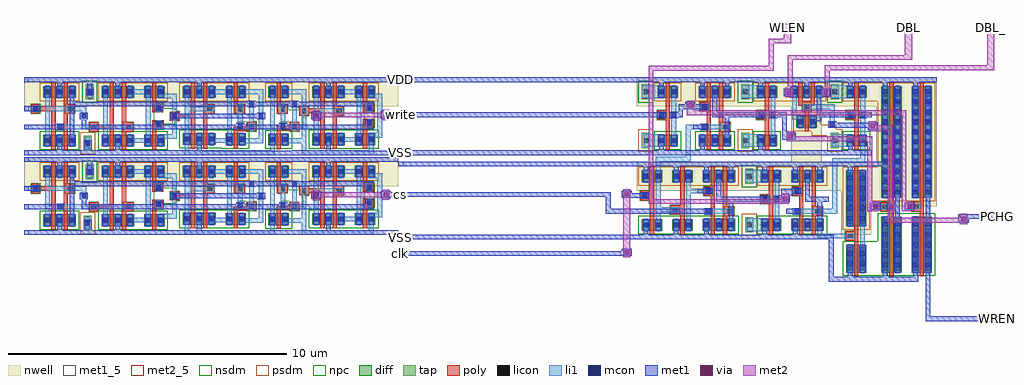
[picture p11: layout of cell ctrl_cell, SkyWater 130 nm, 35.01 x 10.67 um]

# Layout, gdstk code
import gdstk
lib = gdstk.Library(unit=1e-6, precision=5e-09)
def R(c, l, rs):  # rectangles x0, y0, x1, y1
    for r in rs: c.add(gdstk.rectangle(r[:2], r[2:], *l))
def A(c, l, x, y, w, h, nx, ny, dx, dy):  # array of equal rectangles
    R(c, l, [(x+i*dx, y+j*dy, x+i*dx+w, y+j*dy+h) for i in range(nx) for j in range(ny)])
nwell = (64, 20)
diff = (65, 20)
tap = (65, 44)
poly = (66, 20)
licon = (66, 44)
li1 = (67, 20)
mcon = (67, 44)
met1_5 = (68, 5)
met1 = (68, 20)
via = (68, 44)
met2_5 = (69, 5)
met2 = (69, 20)
nsdm = (93, 44)
psdm = (94, 20)
npc = (95, 20)

ms_ff_f = lib.new_cell('ms_ff_f')
R(ms_ff_f, nwell, [(0,1.75,13.43,2.79)])
R(ms_ff_f, diff, [(0.695,0.315,1.865,0.735), (2.78,0.315,3.95,0.735), (4.31,0.315,5.04,0.735), (8.77,0.35,9.5,0.77), (7.23,0.36,7.96,0.78), (10.34,0.36,11.51,0.78), (11.87,0.36,12.6,0.78), (5.7,0.365,6.87,0.785), (0.695,2.06,1.865,2.48), (2.78,2.06,3.95,2.48), (4.31,2.06,5.04,2.48), (5.7,2.06,6.87,2.48), (7.23,2.06,7.96,2.48), (8.77,2.06,9.5,2.48), (10.34,2.06,11.51,2.48), (11.87,2.06,12.6,2.48)])
R(ms_ff_f, tap, [(2.135,0.15,2.425,0.69), (2.21,2,2.5,2.54)])
R(ms_ff_f, poly, [(0.985,0.185,1.135,1.58), (1.425,0.185,1.575,1.5), (3.07,0.185,3.22,0.925), (3.51,0.185,3.66,0.845), (4.6,0.185,4.75,0.925), (9.06,0.22,9.21,0.9), (7.52,0.23,7.67,0.86), (10.63,0.23,10.78,1.5), (11.07,0.23,11.22,1.42), (12.16,0.23,12.31,0.98), (5.99,0.235,6.14,1.315), (6.43,0.235,6.58,1.49), (2.335,0.845,2.665,0.925), (3.51,0.845,3.91,1.175), (7.52,0.86,8.33,1.01), (9.54,0.86,9.87,0.9), (9.06,0.9,9.87,1.05), (2.335,0.925,3.22,1.095), (4.6,0.925,5.005,1.26), (12.16,0.98,12.56,1.31), (8,1.01,8.33,1.19), (9.54,1.05,9.87,1.19), (2.335,1.095,2.665,1.175), (3.07,1.095,3.22,2.61), (3.51,1.175,3.66,2.61), (5.23,1.235,5.56,1.315), (5.23,1.315,6.14,1.485), (9.88,1.42,10.21,1.5), (11.07,1.42,11.47,1.755), (5.23,1.485,5.56,1.565), (5.99,1.485,6.14,2.61), (6.43,1.49,6.83,1.82), (7.52,1.49,7.92,1.82), (9.06,1.49,9.46,1.82), (0.255,1.5,0.555,1.58), (1.425,1.5,1.825,1.83), (9.88,1.5,10.78,1.675), (4.6,1.54,5,1.87), (12.16,1.54,12.56,1.87), (0.255,1.58,1.135,1.75), (9.88,1.675,10.21,1.755), (10.63,1.675,10.78,2.61), (0.255,1.75,0.555,1.83), (0.985,1.75,1.135,2.61), (11.07,1.755,11.22,2.61), (6.43,1.82,6.58,2.61), (7.52,1.82,7.67,2.61), (9.06,1.82,9.21,2.61), (1.425,1.83,1.575,2.61), (4.6,1.87,4.75,2.61), (12.16,1.87,12.31,2.61)])
A(ms_ff_f, licon, 0.755, 0.44, 0.17, 0.17, 3, 2, 0.44, 1.745)
A(ms_ff_f, licon, 2.84, 0.44, 0.17, 0.17, 3, 2, 0.44, 1.745)
A(ms_ff_f, licon, 10.4, 0.485, 0.17, 0.17, 3, 2, 0.44, 1.7)
A(ms_ff_f, licon, 5.76, 0.49, 0.17, 0.17, 3, 2, 0.44, 1.695)
R(ms_ff_f, licon, [(2.195,0.335,2.365,0.505), (4.37,0.44,4.54,0.61), (4.81,0.44,4.98,0.61), (8.83,0.475,9,0.645), (9.27,0.475,9.44,0.645), (7.29,0.485,7.46,0.655), (7.73,0.485,7.9,0.655), (11.93,0.485,12.1,0.655), (12.37,0.485,12.54,0.655), (2.415,0.925,2.585,1.095), (3.66,0.925,3.83,1.095), (8.08,0.94,8.25,1.11), (9.62,0.94,9.79,1.11), (4.75,1.01,4.92,1.18), (12.31,1.06,12.48,1.23), (5.31,1.315,5.48,1.485), (9.96,1.5,10.13,1.67), (11.22,1.5,11.39,1.67), (6.58,1.57,6.75,1.74), (7.67,1.57,7.84,1.74), (9.21,1.57,9.38,1.74), (0.335,1.58,0.505,1.75), (1.575,1.58,1.745,1.75), (4.75,1.62,4.92,1.79), (12.31,1.62,12.48,1.79), (2.27,2.185,2.44,2.355), (4.37,2.185,4.54,2.355), (4.81,2.185,4.98,2.355), (7.29,2.185,7.46,2.355), (7.73,2.185,7.9,2.355), (8.83,2.185,9,2.355), (9.27,2.185,9.44,2.355), (11.93,2.185,12.1,2.355), (12.37,2.185,12.54,2.355)])
R(ms_ff_f, li1, [(5.76,0,9,0.17), (9.96,0,12.54,0.17), (5.76,0.17,5.93,1.57), (8.83,0.17,9,2.5), (9.96,0.17,10.13,0.43), (12.37,0.17,12.54,0.625), (2.195,0.19,2.365,0.65), (0.755,0.295,0.925,1.58), (1.195,0.295,1.365,0.755), (1.635,0.295,1.805,0.755), (2.84,0.295,3.01,0.925), (3.28,0.295,3.45,0.755), (3.72,0.295,3.89,0.445), (4.37,0.295,4.54,0.445), (4.81,0.295,4.98,0.585), (9.27,0.33,9.44,0.43), (7.29,0.34,7.46,0.445), (7.73,0.34,7.9,0.43), (10.4,0.34,10.57,1.5), (10.84,0.34,11.01,0.8), (11.28,0.34,11.45,0.48), (11.93,0.34,12.1,0.48), (6.2,0.345,6.37,0.805), (6.64,0.345,6.81,0.445), (7.73,0.43,8.59,0.6), (9.27,0.43,10.13,0.6), (3.72,0.445,4.54,0.615), (6.64,0.445,7.46,0.615), (11.28,0.48,12.1,0.65), (4.81,0.585,5.48,0.755), (7.73,0.6,7.9,0.8), (8.42,0.6,8.59,2.19), (9.27,0.6,9.44,0.79), (9.96,0.6,10.13,2.19), (3.72,0.615,3.89,0.755), (4.37,0.615,4.54,2.19), (6.64,0.615,6.81,0.805), (7.29,0.615,7.46,2.19), (12.37,0.625,12.845,0.8), (11.28,0.65,11.45,0.8), (11.93,0.65,12.1,2.185), (5.31,0.755,5.48,2.04), (12.675,0.8,12.845,2.04), (8.08,0.86,8.25,1.92), (9.62,0.86,9.79,1.92), (1.195,0.925,2.665,1.095), (2.84,0.925,3.91,1.095), (4.75,0.925,4.92,1.26), (9.21,0.965,9.38,1.82), (7.67,0.97,7.84,1.82), (12.31,0.98,12.48,1.31), (2.84,1.095,3.01,2.5), (2.065,1.315,2.235,1.58), (10.4,1.5,11.47,1.675), (4.75,1.54,4.92,1.87), (12.31,1.54,12.48,1.87), (5.76,1.57,6.83,1.74), (0.255,1.58,0.585,1.75), (0.755,1.58,2.235,1.75), (10.4,1.675,10.57,2.5), (5.76,1.74,5.93,2.5), (0.755,1.75,0.925,2.5), (1.195,2.04,1.365,2.5), (1.635,2.04,1.805,2.5), (2.27,2.04,2.44,2.5), (3.28,2.04,3.45,2.5), (3.72,2.04,3.89,2.19), (4.81,2.04,5.48,2.21), (6.2,2.04,6.37,2.5), (6.64,2.04,6.81,2.19), (7.73,2.04,7.9,2.19), (9.27,2.04,9.44,2.19), (10.84,2.04,11.01,2.5), (11.28,2.04,11.45,2.185), (12.37,2.04,12.845,2.21), (11.28,2.185,12.1,2.355), (3.72,2.19,4.54,2.36), (6.64,2.19,7.46,2.36), (7.73,2.19,8.59,2.36), (9.27,2.19,10.13,2.36), (4.81,2.21,4.98,2.5), (12.37,2.21,12.54,2.5), (11.28,2.355,11.45,2.5), (11.93,2.355,12.1,2.5), (3.72,2.36,3.89,2.5), (4.37,2.36,4.54,2.5), (6.64,2.36,6.81,2.5), (7.29,2.36,7.46,2.5), (7.73,2.36,7.9,2.5), (9.27,2.36,9.44,2.5)])
A(ms_ff_f, mcon, 0.755, 0.44, 0.17, 0.17, 3, 2, 0.44, 1.745)
A(ms_ff_f, mcon, 2.84, 0.44, 0.17, 0.17, 3, 2, 0.44, 1.745)
A(ms_ff_f, mcon, 10.4, 0.485, 0.17, 0.17, 3, 2, 0.44, 1.7)
A(ms_ff_f, mcon, 5.76, 0.49, 0.17, 0.17, 3, 2, 0.44, 1.695)
R(ms_ff_f, mcon, [(2.195,0.335,2.365,0.505), (4.37,0.44,4.54,0.61), (4.81,0.44,4.98,0.61), (8.83,0.475,9,0.645), (9.27,0.475,9.44,0.645), (7.29,0.485,7.46,0.655), (7.73,0.485,7.9,0.655), (11.93,0.485,12.1,0.655), (12.37,0.485,12.54,0.655), (1.195,0.925,1.365,1.095), (9.21,0.965,9.38,1.135), (7.67,0.97,7.84,1.14), (4.75,1.01,4.92,1.18), (12.31,1.06,12.48,1.23), (2.065,1.315,2.235,1.485), (5.31,1.315,5.48,1.485), (8.42,1.315,8.59,1.485), (10.4,1.335,10.57,1.505), (0.335,1.58,0.505,1.75), (4.75,1.62,4.92,1.79), (12.31,1.62,12.48,1.79), (8.08,1.75,8.25,1.92), (9.62,1.75,9.79,1.92), (2.27,2.185,2.44,2.355), (4.37,2.185,4.54,2.355), (4.81,2.185,4.98,2.355), (7.29,2.185,7.46,2.355), (7.73,2.185,7.9,2.355), (8.83,2.185,9,2.355), (9.27,2.185,9.44,2.355), (11.93,2.185,12.1,2.355), (12.37,2.185,12.54,2.355)])
R(ms_ff_f, met1_5, [(0,0,0.17,0.17), (0,0.925,0.17,1.095), (13.26,1.36,13.43,1.53), (0,1.58,0.17,1.75), (0,2.62,0.17,2.79)])
A(ms_ff_f, met1, 0.725, 0.315, 0.23, 0.42, 3, 2, 0.44, 1.745)
A(ms_ff_f, met1, 2.81, 0.315, 0.23, 0.42, 3, 2, 0.44, 1.745)
A(ms_ff_f, met1, 10.37, 0.36, 0.23, 0.42, 3, 2, 0.44, 1.7)
A(ms_ff_f, met1, 5.73, 0.365, 0.23, 0.42, 3, 2, 0.44, 1.695)
R(ms_ff_f, met1, [(0,0,13.43,0.165), (0,0.165,6.37,0.17), (9.605,0.165,11.82,0.17), (1.195,0.17,1.365,0.315), (2.135,0.17,2.425,0.535), (3.28,0.17,3.45,0.315), (6.2,0.17,6.37,0.365), (10.84,0.17,11.01,0.36), (4.34,0.315,4.57,0.735), (4.78,0.315,5.01,0.735), (8.8,0.35,9.03,0.77), (9.24,0.35,9.47,0.77), (7.26,0.36,7.49,0.78), (7.7,0.36,7.93,0.78), (11.9,0.36,12.13,0.78), (12.34,0.36,12.57,0.78), (1.635,0.735,1.805,1.75), (1.135,0.895,1.425,0.925), (0,0.925,1.425,1.095), (2.065,0.925,12.54,1.095), (1.135,1.095,1.425,1.125), (2.065,1.095,2.235,1.285), (4.69,1.095,4.98,1.21), (7.61,1.095,7.9,1.17), (9.15,1.095,9.44,1.165), (12.245,1.095,12.54,1.27), (2.005,1.285,2.295,1.515), (5.25,1.285,5.54,1.315), (8.36,1.285,8.65,1.315), (10.305,1.29,10.665,1.55), (12.795,1.31,13.155,1.36), (5.25,1.315,8.65,1.485), (12.795,1.36,13.43,1.53), (5.25,1.485,5.54,1.515), (8.36,1.485,8.65,1.515), (12.795,1.53,13.155,1.57), (0.275,1.55,0.565,1.58), (0,1.58,0.565,1.75), (4.69,1.59,4.98,1.75), (12.25,1.59,12.54,1.75), (8.02,1.72,8.31,1.75), (9.56,1.72,9.85,1.75), (0.275,1.75,0.565,1.78), (1.635,1.75,12.54,1.92), (1.635,1.92,1.805,2.06), (8.02,1.92,8.31,1.95), (9.56,1.92,9.85,1.95), (4.34,2.06,4.57,2.48), (4.78,2.06,5.01,2.48), (7.26,2.06,7.49,2.48), (7.7,2.06,7.93,2.48), (8.8,2.06,9.03,2.48), (9.24,2.06,9.47,2.48), (11.9,2.06,12.13,2.48), (12.34,2.06,12.57,2.48), (2.21,2.155,2.5,2.385), (2.27,2.385,2.44,2.62), (1.195,2.48,1.365,2.62), (3.28,2.48,3.45,2.62), (6.2,2.48,6.37,2.62), (10.84,2.48,11.01,2.62), (0,2.62,13.43,2.79)])
R(ms_ff_f, via, [(10.41,1.345,10.56,1.495), (12.9,1.365,13.05,1.515)])
R(ms_ff_f, met2, [(10.355,1.24,10.615,1.355), (12.845,1.26,13.105,1.355), (10.355,1.355,13.105,1.525), (10.355,1.525,10.615,1.6), (12.845,1.525,13.105,1.62)])
R(ms_ff_f, nsdm, [(0.57,0.19,1.99,0.86), (2.655,0.19,5.165,0.86), (8.645,0.225,9.625,0.895), (7.105,0.235,8.085,0.24), (10.215,0.235,12.725,0.905), (5.575,0.24,8.085,0.905), (5.575,0.905,6.995,0.91), (2.085,1.875,2.625,2.665)])
R(ms_ff_f, psdm, [(2.01,0.025,2.55,0.815), (0.57,1.935,1.99,2.605), (2.655,1.935,5.165,2.605), (5.575,1.935,8.085,2.605), (8.645,1.935,9.625,2.605), (10.215,1.935,12.725,2.605)])
R(ms_ff_f, npc, [(2.315,0.825,2.685,1.195), (3.56,0.825,3.93,1.195), (7.98,0.84,8.35,1.205), (9.52,0.84,9.89,0.985), (4.65,0.91,5.02,1.11), (12.21,0.96,12.58,1.89), (9.52,0.985,10.01,1.205), (4.65,1.11,5.425,1.215), (7.67,1.205,8.35,1.21), (9.21,1.205,10.01,1.4), (7.67,1.21,8.25,1.47), (4.65,1.215,5.58,1.585), (9.21,1.4,10.23,1.47), (11.12,1.4,11.49,1.77), (6.48,1.47,6.85,1.84), (7.57,1.47,8.25,1.475), (9.11,1.47,10.23,1.625), (7.57,1.475,7.94,1.84), (0.235,1.48,0.605,1.85), (1.475,1.48,1.845,1.85), (4.65,1.585,5.425,1.69), (9.11,1.625,9.48,1.84), (9.86,1.625,10.23,1.77), (4.65,1.69,5.02,1.89)])
ms_ff_f.add(gdstk.Label('clk', (0.085,1.665), layer=68, texttype=5))
ms_ff_f.add(gdstk.Label('d', (0.085,1.01), layer=68, texttype=5))
ms_ff_f.add(gdstk.Label('VDD', (0.085,2.705), layer=68, texttype=5))
ms_ff_f.add(gdstk.Label('VSS', (0.085,0.085), layer=68, texttype=5))
ms_ff_f.add(gdstk.Label('q', (13.345,1.445), layer=68, texttype=5))

ctrl_cell = lib.new_cell('ctrl_cell')
R(ctrl_cell, nwell, [(15.88,3.1,16.97,4.125), (15.88,4.125,19.32,4.675), (15.44,4.675,19.32,4.68), (8.555,4.68,19.32,5.72), (14.1,5.72,15.19,7.705), (17.14,5.72,19.32,7.7), (16.975,7.7,19.32,7.705), (8.555,7.705,19.32,8.745)])
R(ctrl_cell, diff, [(16.06,1.745,16.79,2.745), (17.32,1.745,18.05,3.745), (18.41,1.745,19.14,3.745), (8.735,3.24,9.465,3.66), (9.825,3.24,10.555,3.66), (10.91,3.245,12.08,3.665), (13,3.245,13.73,3.665), (14.09,3.245,15.26,3.665), (16.06,3.41,16.79,5.41), (17.32,4.435,18.05,8.435), (18.41,4.435,19.14,8.435), (8.735,4.99,9.465,5.41), (9.825,4.99,10.555,5.41), (10.91,4.99,12.08,5.41), (13,4.99,13.73,5.41), (14.09,4.99,15.26,5.41), (9.295,6.27,10.025,6.69), (10.765,6.27,11.935,6.69), (12.855,6.27,13.585,6.69), (16.07,6.27,16.8,6.69), (14.28,6.945,15.01,7.365), (9.295,8.015,10.025,8.435), (10.765,8.015,11.935,8.435), (12.855,8.015,13.585,8.435), (14.06,8.015,15.23,8.435), (16.07,8.015,16.8,8.435)])
R(ctrl_cell, tap, [(12.44,3.185,12.73,3.725), (12.44,4.93,12.73,5.47), (8.735,6.21,9.025,6.75), (12.295,6.21,12.585,6.75), (15.51,6.21,15.8,6.75), (8.735,7.955,9.025,8.495), (12.295,7.955,12.585,8.495), (15.51,7.955,15.8,8.495)])
R(ctrl_cell, poly, [(16.35,1.615,16.5,2.89), (17.61,1.615,17.76,3.94), (18.7,1.615,18.85,3.945), (16.04,2.89,16.5,3.22), (9.025,3.11,9.175,4.34), (10.115,3.11,10.265,3.83), (11.2,3.115,11.35,4.5), (11.64,3.115,11.79,3.775), (13.29,3.115,13.44,4.21), (14.38,3.115,14.53,4.5), (14.82,3.115,14.97,3.775), (16.35,3.22,16.5,5.54), (11.64,3.775,12.04,4.105), (14.82,3.775,15.22,4.105), (9.755,3.83,10.265,4.16), (17.3,3.94,17.76,4.27), (18.405,3.945,18.85,4.275), (11.64,4.105,11.79,5.54), (14.82,4.105,14.97,5.54), (10.115,4.16,10.265,5.54), (12.985,4.21,13.44,4.54), (17.61,4.27,17.76,8.565), (18.7,4.275,18.85,8.565), (8.67,4.34,9.175,4.675), (10.95,4.5,11.35,4.83), (14.13,4.5,14.53,4.83), (13.29,4.54,13.44,5.54), (9.025,4.675,9.175,5.54), (11.2,4.83,11.35,5.54), (14.38,4.83,14.53,5.54), (9.585,6.14,9.735,7.235), (11.055,6.14,11.205,7.525), (11.495,6.14,11.645,6.8), (13.145,6.14,13.295,7.235), (16.36,6.14,16.51,7.235), (11.495,6.8,11.895,7.13), (14.57,6.815,14.72,7.495), (11.495,7.13,11.645,8.565), (9.28,7.235,9.735,7.565), (12.84,7.235,13.295,7.565), (16.055,7.235,16.51,7.565), (14.565,7.495,14.72,7.525), (10.805,7.525,11.205,7.855), (14.48,7.525,14.805,7.735), (9.585,7.565,9.735,8.565), (13.145,7.565,13.295,8.565), (16.36,7.565,16.51,8.565), (14.35,7.735,14.94,7.885), (11.055,7.855,11.205,8.565), (14.35,7.885,14.5,8.565), (14.79,7.885,14.94,8.565)])
A(ctrl_cell, licon, 17.38, 1.81, 0.17, 0.17, 1, 6, 0, 0.34)
A(ctrl_cell, licon, 17.82, 1.81, 0.17, 0.17, 1, 6, 0, 0.34)
A(ctrl_cell, licon, 18.47, 1.81, 0.17, 0.17, 1, 6, 0, 0.34)
A(ctrl_cell, licon, 18.91, 1.81, 0.17, 0.17, 1, 6, 0, 0.34)
A(ctrl_cell, licon, 16.12, 1.82, 0.17, 0.17, 1, 3, 0, 0.34)
A(ctrl_cell, licon, 16.56, 1.82, 0.17, 0.17, 1, 3, 0, 0.34)
A(ctrl_cell, licon, 10.97, 3.37, 0.17, 0.17, 3, 2, 0.44, 1.745)
A(ctrl_cell, licon, 14.15, 3.37, 0.17, 0.17, 3, 2, 0.44, 1.745)
A(ctrl_cell, licon, 16.12, 3.475, 0.17, 0.17, 1, 6, 0, 0.34)
A(ctrl_cell, licon, 16.56, 3.475, 0.17, 0.17, 1, 6, 0, 0.34)
A(ctrl_cell, licon, 17.38, 4.65, 0.17, 0.17, 1, 11, 0, 0.34)
A(ctrl_cell, licon, 17.82, 4.65, 0.17, 0.17, 1, 11, 0, 0.34)
A(ctrl_cell, licon, 18.47, 4.65, 0.17, 0.17, 1, 11, 0, 0.34)
A(ctrl_cell, licon, 18.91, 4.65, 0.17, 0.17, 1, 11, 0, 0.34)
A(ctrl_cell, licon, 10.825, 6.395, 0.17, 0.17, 3, 2, 0.44, 1.745)
A(ctrl_cell, licon, 14.12, 8.14, 0.17, 0.17, 3, 1, 0.44, 0)
R(ctrl_cell, licon, [(16.12,2.97,16.29,3.14), (8.795,3.365,8.965,3.535), (9.235,3.365,9.405,3.535), (9.885,3.365,10.055,3.535), (10.325,3.365,10.495,3.535), (12.5,3.37,12.67,3.54), (13.06,3.37,13.23,3.54), (13.5,3.37,13.67,3.54), (11.79,3.855,11.96,4.025), (14.97,3.855,15.14,4.025), (9.835,3.91,10.005,4.08), (17.38,4.02,17.55,4.19), (18.49,4.025,18.66,4.195), (13.065,4.29,13.235,4.46), (8.755,4.42,8.925,4.59), (11.03,4.58,11.2,4.75), (14.21,4.58,14.38,4.75), (8.795,5.115,8.965,5.285), (9.235,5.115,9.405,5.285), (9.885,5.115,10.055,5.285), (10.325,5.115,10.495,5.285), (12.5,5.115,12.67,5.285), (13.06,5.115,13.23,5.285), (13.5,5.115,13.67,5.285), (8.795,6.395,8.965,6.565), (9.355,6.395,9.525,6.565), (9.795,6.395,9.965,6.565), (12.355,6.395,12.525,6.565), (12.915,6.395,13.085,6.565), (13.355,6.395,13.525,6.565), (15.57,6.395,15.74,6.565), (16.13,6.395,16.3,6.565), (16.57,6.395,16.74,6.565), (11.645,6.88,11.815,7.05), (14.34,7.07,14.51,7.24), (14.78,7.07,14.95,7.24), (9.36,7.315,9.53,7.485), (12.92,7.315,13.09,7.485), (16.135,7.315,16.305,7.485), (10.885,7.605,11.055,7.775), (14.56,7.605,14.73,7.775), (8.795,8.14,8.965,8.31), (9.355,8.14,9.525,8.31), (9.795,8.14,9.965,8.31), (12.355,8.14,12.525,8.31), (12.915,8.14,13.085,8.31), (13.355,8.14,13.525,8.31), (15.57,8.14,15.74,8.31), (16.13,8.14,16.3,8.31), (16.57,8.14,16.74,8.31)])
A(ctrl_cell, li1, 10.97, 3.225, 0.17, 0.46, 3, 2, 0.44, 1.745)
A(ctrl_cell, li1, 14.15, 4.97, 0.17, 0.46, 3, 1, 0.44, 0)
A(ctrl_cell, li1, 10.825, 6.25, 0.17, 0.46, 3, 2, 0.44, 1.745)
R(ctrl_cell, li1, [(16.12,1.725,16.29,2.765), (16.56,1.725,16.73,5.43), (17.38,1.725,17.55,3.765), (17.82,1.725,17.99,8.455), (18.47,1.725,18.64,3.765), (18.91,1.725,19.08,8.455), (15.03,2.97,16.37,3.14), (15.03,3.14,15.2,3.685), (8.795,3.22,8.965,3.68), (9.235,3.22,9.405,3.91), (9.885,3.22,10.055,3.68), (10.325,3.22,10.495,4.58), (12.5,3.225,13.23,3.685), (13.5,3.225,13.67,5.43), (14.15,3.225,14.32,3.685), (14.59,3.225,14.76,3.685), (16.12,3.39,16.29,5.43), (10.97,3.855,12.04,4.025), (14.15,3.855,15.74,4.025), (9.235,3.91,10.085,4.08), (17.025,4.02,17.63,4.19), (15.57,4.025,15.74,5.68), (18.265,4.025,18.74,4.195), (9.235,4.08,9.405,5.72), (12.985,4.29,13.315,4.46), (17.38,4.415,17.55,8.455), (18.47,4.415,18.64,8.455), (8.67,4.42,9.005,4.59), (10.325,4.58,11.28,4.75), (14.13,4.58,14.46,4.75), (10.325,4.75,10.495,5.43), (8.795,4.97,8.965,5.43), (9.885,4.97,10.055,5.43), (12.44,4.97,13.23,5.43), (15.57,5.68,16.74,5.85), (9.235,5.72,10.485,5.89), (16.57,5.85,16.74,8.455), (10.315,5.89,10.485,6.88), (8.795,6.25,9.525,6.71), (9.795,6.25,9.965,8.455), (12.355,6.25,13.085,6.71), (13.355,6.25,13.525,8.455), (15.57,6.25,16.3,6.71), (10.315,6.88,11.895,7.05), (14.34,6.925,14.51,7.245), (14.78,6.925,14.95,7.385), (15.48,6.975,15.65,7.605), (14.12,7.245,14.51,7.415), (9.28,7.315,9.61,7.485), (12.84,7.315,13.17,7.485), (16.055,7.315,16.385,7.485), (14.12,7.415,14.29,8.455), (10.805,7.605,11.135,7.775), (14.48,7.605,15.65,7.775), (8.735,7.995,9.525,8.455), (12.295,7.995,13.085,8.455), (14.56,7.995,14.73,8.455), (15,7.995,15.17,8.455), (15.51,7.995,16.3,8.455)])
A(ctrl_cell, mcon, 17.38, 1.94, 0.17, 0.17, 1, 5, 0, 0.36)
A(ctrl_cell, mcon, 17.82, 1.94, 0.17, 0.17, 1, 5, 0, 0.36)
A(ctrl_cell, mcon, 18.47, 1.94, 0.17, 0.17, 1, 5, 0, 0.36)
A(ctrl_cell, mcon, 18.91, 1.94, 0.17, 0.17, 1, 5, 0, 0.36)
A(ctrl_cell, mcon, 10.97, 3.37, 0.17, 0.17, 3, 2, 0.44, 1.745)
A(ctrl_cell, mcon, 14.15, 3.37, 0.17, 0.17, 3, 2, 0.44, 1.745)
A(ctrl_cell, mcon, 16.12, 3.605, 0.17, 0.17, 1, 5, 0, 0.36)
A(ctrl_cell, mcon, 16.56, 3.605, 0.17, 0.17, 1, 5, 0, 0.36)
A(ctrl_cell, mcon, 17.38, 4.55, 0.17, 0.17, 1, 11, 0, 0.36)
A(ctrl_cell, mcon, 17.82, 4.55, 0.17, 0.17, 1, 11, 0, 0.36)
A(ctrl_cell, mcon, 18.47, 4.55, 0.17, 0.17, 1, 11, 0, 0.36)
A(ctrl_cell, mcon, 18.91, 4.55, 0.17, 0.17, 1, 11, 0, 0.36)
A(ctrl_cell, mcon, 10.825, 6.395, 0.17, 0.17, 3, 2, 0.44, 1.745)
A(ctrl_cell, mcon, 14.12, 8.14, 0.17, 0.17, 3, 1, 0.44, 0)
R(ctrl_cell, mcon, [(16.12,1.98,16.29,2.15), (16.56,1.98,16.73,2.15), (16.12,2.34,16.29,2.51), (16.56,2.34,16.73,2.51), (8.795,3.365,8.965,3.535), (9.235,3.365,9.405,3.535), (9.885,3.365,10.055,3.535), (10.325,3.365,10.495,3.535), (13.06,3.37,13.23,3.54), (13.5,3.37,13.67,3.54), (11.03,3.855,11.2,4.025), (14.21,3.855,14.38,4.025), (17.025,4.02,17.195,4.19), (18.265,4.025,18.435,4.195), (13.065,4.29,13.235,4.46), (13.5,4.29,13.67,4.46), (8.755,4.42,8.925,4.59), (11.03,4.58,11.2,4.75), (14.21,4.58,14.38,4.75), (8.795,5.115,8.965,5.285), (9.235,5.115,9.405,5.285), (9.885,5.115,10.055,5.285), (10.325,5.115,10.495,5.285), (13.06,5.115,13.23,5.285), (13.5,5.115,13.67,5.285), (9.355,6.395,9.525,6.565), (9.795,6.395,9.965,6.565), (12.915,6.395,13.085,6.565), (13.355,6.395,13.525,6.565), (16.13,6.395,16.3,6.565), (16.57,6.395,16.74,6.565), (10.885,6.88,11.055,7.05), (15.48,6.975,15.65,7.145), (14.34,7.07,14.51,7.24), (14.78,7.07,14.95,7.24), (9.36,7.315,9.53,7.485), (9.795,7.315,9.965,7.485), (12.92,7.315,13.09,7.485), (13.355,7.315,13.525,7.485), (16.135,7.315,16.305,7.485), (16.57,7.315,16.74,7.485), (10.885,7.605,11.055,7.775), (9.355,8.14,9.525,8.31), (9.795,8.14,9.965,8.31), (12.915,8.14,13.085,8.31), (13.355,8.14,13.525,8.31), (16.13,8.14,16.3,8.31), (16.57,8.14,16.74,8.31)])
R(ctrl_cell, met1_5, [(21.41,0,21.58,0.17), (0,2.345,0.17,2.515), (0,2.93,0.17,3.1), (21.41,3.67,21.58,3.84), (0,4.455,0.17,4.625), (0,5.55,0.17,5.72), (0,5.955,0.17,6.125), (0,7.315,0.17,7.485), (0,8.575,0.17,8.745)])
A(ctrl_cell, met1, 10.94, 3.245, 0.23, 0.42, 3, 2, 0.44, 1.745)
A(ctrl_cell, met1, 14.12, 3.245, 0.23, 0.42, 3, 2, 0.44, 1.745)
A(ctrl_cell, met1, 10.795, 6.27, 0.23, 0.42, 3, 2, 0.44, 1.745)
R(ctrl_cell, met1, [(18.91,0,21.58,0.17), (18.91,0.17,19.08,1.745), (15.44,1.42,18.64,1.59), (15.44,1.59,15.61,2.93), (16.12,1.59,16.29,1.745), (17.38,1.59,17.55,1.745), (18.47,1.59,18.64,1.745), (16.09,1.745,16.32,2.745), (16.53,1.745,16.76,2.745), (17.35,1.745,17.58,3.745), (17.79,1.745,18.02,3.745), (18.44,1.745,18.67,3.745), (18.88,1.745,19.11,3.745), (0,2.345,8.37,2.515), (8.01,2.515,8.37,2.605), (0,2.93,15.61,3.095), (0,3.095,15.44,3.1), (8.795,3.1,8.965,3.24), (9.885,3.1,10.055,3.24), (10.97,3.1,11.14,3.245), (13.06,3.1,13.23,3.245), (14.15,3.1,14.32,3.245), (8.765,3.24,8.995,3.66), (9.205,3.24,9.435,3.66), (9.855,3.24,10.085,3.66), (10.295,3.24,10.525,3.66), (13.03,3.245,13.26,3.665), (13.47,3.245,13.7,3.665), (16.09,3.41,16.32,5.41), (16.53,3.41,16.76,5.41), (20.09,3.535,20.455,3.67), (11.85,3.665,12.02,4.29), (15.03,3.665,15.2,4.29), (20.09,3.67,21.58,3.84), (17.82,3.745,17.99,3.975), (18.91,3.745,19.08,4.435), (10.97,3.825,11.26,3.855), (14.15,3.825,14.44,3.855), (7.44,3.855,11.26,4.025), (13.91,3.855,14.44,4.025), (17.51,3.975,17.99,4.235), (16.94,3.99,17.3,4.25), (18.17,3.99,18.53,4.25), (7.44,4.025,7.61,4.455), (10.97,4.025,11.26,4.055), (14.15,4.025,14.44,4.055), (17.82,4.235,17.99,4.435), (13.005,4.26,13.295,4.29), (13.44,4.26,14.045,4.49), (11.41,4.29,13.295,4.46), (14.59,4.29,15.44,4.46), (8.695,4.39,8.985,4.42), (8.01,4.42,8.985,4.59), (17.35,4.435,17.58,5.55), (17.79,4.435,18.02,8.435), (18.44,4.435,18.67,8.435), (18.88,4.435,19.11,8.435), (0,4.455,7.61,4.625), (11.41,4.46,11.58,4.99), (13.005,4.46,13.295,4.49), (14.59,4.46,14.76,4.99), (13.685,4.49,14.045,4.52), (13.74,4.52,14.15,4.55), (10.97,4.55,11.26,4.58), (13.74,4.55,14.44,4.745), (10.73,4.58,11.26,4.75), (8.01,4.59,8.37,4.68), (8.695,4.59,8.985,4.62), (13.91,4.745,14.44,4.75), (10.97,4.75,11.26,4.78), (14.15,4.75,14.44,4.78), (8.765,4.99,8.995,5.41), (9.205,4.99,9.435,5.41), (9.855,4.99,10.085,5.41), (10.295,4.99,10.525,5.41), (13.03,4.99,13.26,5.41), (13.47,4.99,13.7,5.41), (8.795,5.41,8.965,5.55), (9.885,5.41,10.055,5.55), (10.97,5.41,11.14,5.55), (11.85,5.41,12.02,5.55), (13.06,5.41,13.23,5.55), (14.15,5.41,14.32,5.55), (15.03,5.41,15.2,5.55), (16.12,5.41,16.29,5.55), (0,5.55,17.58,5.72), (17.35,5.72,17.58,8.435), (0,5.955,16.98,6.125), (9.355,6.125,9.525,6.27), (10.825,6.125,10.995,6.27), (12.915,6.125,13.085,6.27), (16.13,6.125,16.3,6.27), (9.325,6.27,9.555,6.69), (9.765,6.27,9.995,6.69), (12.885,6.27,13.115,6.69), (13.325,6.27,13.555,6.69), (16.1,6.27,16.33,6.69), (16.54,6.27,16.77,6.69), (13.765,6.505,14.245,6.765), (11.705,6.69,11.875,7.315), (13.765,6.765,13.935,7.315), (10.825,6.85,11.115,6.88), (16.83,6.865,17.19,6.945), (10.585,6.88,11.115,7.05), (14.31,6.945,14.54,7.365), (14.75,6.945,14.98,7.175), (15.42,6.945,17.19,7.125), (10.825,7.05,11.115,7.08), (15.42,7.125,15.71,7.175), (14.75,7.175,15.17,7.315), (9.3,7.285,9.59,7.315), (9.735,7.285,10.025,7.315), (12.86,7.285,13.15,7.315), (13.295,7.285,13.585,7.315), (16.075,7.285,16.365,7.315), (16.51,7.285,16.8,7.315), (0,7.315,9.59,7.485), (9.735,7.315,10.205,7.515), (11.265,7.315,13.15,7.485), (13.295,7.315,13.935,7.485), (14.75,7.315,16.365,7.365), (16.51,7.315,16.98,7.485), (15,7.365,16.365,7.485), (9.3,7.485,9.59,7.515), (11.265,7.485,11.435,8.015), (12.86,7.485,13.15,7.515), (13.295,7.485,13.585,7.515), (15,7.485,15.17,8.015), (16.075,7.485,16.365,7.515), (16.51,7.485,16.8,7.515), (10.065,7.515,10.205,7.605), (10.825,7.575,11.115,7.605), (10.065,7.605,11.115,7.775), (10.295,7.775,10.655,7.865), (10.825,7.775,11.115,7.805), (9.325,8.015,9.555,8.435), (9.765,8.015,9.995,8.435), (12.885,8.015,13.115,8.435), (13.325,8.015,13.555,8.435), (14.09,8.015,14.32,8.075), (14.53,8.015,14.76,8.435), (14.97,8.015,15.2,8.075), (16.1,8.015,16.33,8.435), (16.54,8.015,16.77,8.435), (13.83,8.075,14.32,8.335), (14.97,8.075,15.515,8.335), (14.09,8.335,14.32,8.435), (14.97,8.335,15.2,8.435), (9.355,8.435,9.525,8.575), (10.825,8.435,10.995,8.575), (11.705,8.435,11.875,8.575), (12.915,8.435,13.085,8.575), (14.56,8.435,14.73,8.575), (16.13,8.435,16.3,8.575), (17.38,8.435,17.55,8.575), (18.47,8.435,18.64,8.575), (0,8.575,19.32,8.745)])
R(ctrl_cell, via, [(8.115,2.4,8.265,2.55), (20.195,3.59,20.345,3.74), (17.615,4.03,17.765,4.18), (17.045,4.045,17.195,4.195), (18.275,4.045,18.425,4.195), (13.79,4.315,13.94,4.465), (8.115,4.475,8.265,4.625), (13.99,6.56,14.14,6.71), (16.935,6.92,17.085,7.07), (10.4,7.66,10.55,7.81), (13.935,8.13,14.085,8.28), (15.255,8.13,15.405,8.28)])
R(ctrl_cell, met2_5, [(13.825,10.405,14.085,10.665), (18.17,10.405,18.43,10.665), (21.12,10.405,21.38,10.665)])
R(ctrl_cell, met2, [(8.06,2.295,8.32,4.73), (20.14,3.485,20.405,3.535), (17.56,3.535,20.405,3.705), (17.56,3.705,17.73,3.925), (20.14,3.705,20.405,3.845), (17.56,3.925,17.82,4.285), (16.82,3.94,17.25,4.3), (18.05,3.94,18.48,4.3), (8.975,4.21,13.995,4.38), (17.56,4.285,17.73,6.815), (16.82,4.3,16.99,6.455), (18.05,4.3,18.22,7.385), (8.975,4.38,9.145,8.99), (13.735,4.38,13.995,4.57), (13.935,6.455,16.99,6.625), (13.935,6.625,14.195,6.815), (16.88,6.815,17.73,7.03), (16.88,7.03,17.14,7.175), (10.345,7.385,18.22,7.56), (10.345,7.56,10.605,7.915), (13.88,8.025,14.145,8.385), (15.2,8.025,15.465,8.385), (13.975,8.385,14.145,9.005), (15.295,8.385,15.465,9.005), (8.975,8.99,13.46,9.16), (13.975,9.005,14.15,9.375), (15.295,9.005,21.38,9.175), (13.29,9.16,13.46,9.965), (21.12,9.175,21.38,10.665), (13.975,9.375,18.43,9.545), (18.17,9.545,18.43,10.665), (13.29,9.965,14.085,10.135), (13.825,10.135,14.085,10.665)])
R(ctrl_cell, nsdm, [(15.935,1.62,19.265,2.87), (17.195,2.87,19.265,3.87), (8.61,3.115,10.68,3.12), (8.61,3.12,12.205,3.785), (12.875,3.12,15.385,3.79), (10.785,3.785,12.205,3.79), (12.315,4.805,12.855,5.595), (9.17,6.145,10.15,6.815), (10.64,6.145,12.06,6.815), (12.73,6.145,13.71,6.815), (15.945,6.145,16.925,6.815), (8.61,7.83,9.15,8.62), (12.17,7.83,12.71,8.62), (15.385,7.83,15.925,8.62)])
R(ctrl_cell, psdm, [(12.315,3.06,12.855,3.85), (15.935,3.285,16.915,4.31), (15.935,4.31,19.265,5.535), (8.61,4.865,12.205,5.535), (12.875,4.865,15.385,5.535), (17.195,5.535,19.265,7.89), (8.61,6.085,9.15,6.875), (12.17,6.085,12.71,6.875), (15.385,6.085,15.925,6.655), (14.82,6.655,15.925,6.82), (14.155,6.82,15.925,6.875), (14.155,6.875,15.7,7.04), (14.155,7.04,15.135,7.49), (9.17,7.89,10.15,8.56), (10.64,7.89,12.06,8.56), (12.73,7.89,15.355,8.56), (15.945,7.89,19.265,8.56)])
R(ctrl_cell, npc, [(16.02,2.87,16.39,3.24), (11.69,3.755,12.06,4.125), (14.87,3.755,15.24,4.125), (9.735,3.81,10.105,4.18), (17.28,3.92,17.65,4.29), (18.39,3.925,18.76,4.295), (12.965,4.19,13.335,4.56), (8.655,4.32,9.025,4.69), (10.93,4.48,11.3,4.85), (14.11,4.48,14.48,4.85), (11.545,6.78,11.915,7.15), (9.26,7.215,9.63,7.585), (12.82,7.215,13.19,7.585), (16.035,7.215,16.405,7.585), (10.785,7.505,11.155,7.875), (14.46,7.505,14.83,7.875)])
ctrl_cell.add(gdstk.Reference(ms_ff_f, (-13.43,5.955)))
ctrl_cell.add(gdstk.Reference(ms_ff_f, (-13.43,3.095)))
ctrl_cell.add(gdstk.Label('WLEN', (13.955,10.535), layer=69, texttype=5))
ctrl_cell.add(gdstk.Label('DBL', (18.3,10.535), layer=69, texttype=5))
ctrl_cell.add(gdstk.Label('DBL_', (21.25,10.535), layer=69, texttype=5))
ctrl_cell.add(gdstk.Label('PCHG', (21.495,3.755), layer=68, texttype=5))
ctrl_cell.add(gdstk.Label('WREN', (21.495,0.085), layer=68, texttype=5))
ctrl_cell.add(gdstk.Label('VDD', (0.085,8.66), layer=68, texttype=5))
ctrl_cell.add(gdstk.Label('write', (0.085,7.4), layer=68, texttype=5))
ctrl_cell.add(gdstk.Label('VSS', (0.085,6.04), layer=68, texttype=5))
ctrl_cell.add(gdstk.Label('VDD', (0.085,5.635), layer=68, texttype=5))
ctrl_cell.add(gdstk.Label('cs', (0.085,4.54), layer=68, texttype=5))
ctrl_cell.add(gdstk.Label('VSS', (0.085,3.015), layer=68, texttype=5))
ctrl_cell.add(gdstk.Label('clk', (0.085,2.43), layer=68, texttype=5))

lib.write_gds('ctrl_cell.gds')
